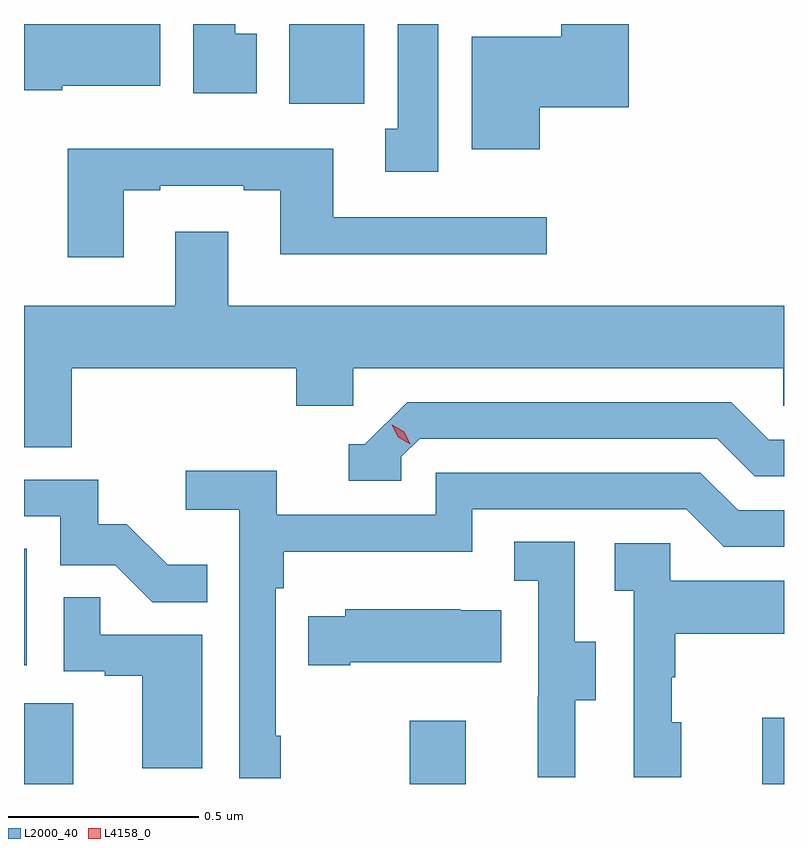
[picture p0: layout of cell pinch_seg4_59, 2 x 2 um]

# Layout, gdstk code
import gdstk
lib = gdstk.Library(unit=1e-6, precision=1e-09)
def R(c, l, rs):  # rectangles x0, y0, x1, y1
    for r in rs: c.add(gdstk.rectangle(r[:2], r[2:], *l))
def P(c, l, *ps):  # polygons
    for p in ps: c.add(gdstk.Polygon(p, *l))
L2000_40 = (2000, 40)
L4158_0 = (4158, 0)

pinch_seg4_59 = lib.new_cell('pinch_seg4_59')
R(pinch_seg4_59, L2000_40, [(1018.845,827.694,1018.975,827.906), (1019.86,827.694,1020.007,827.86), (1020.788,827.694,1020.845,827.869), (1018.845,828.006,1018.852,828.313), (1019.543,829.484,1019.74,829.694)])
P(pinch_seg4_59, L2000_40, [(1018.945,829.532),(1019.203,829.532),(1019.203,829.694),(1018.845,829.694),(1018.845,829.52),(1018.945,829.52)],
  [(1020.202,829.475),(1020.437,829.475),(1020.437,829.694),(1020.259,829.694),(1020.259,829.66),(1020.023,829.66),(1020.023,829.364),(1020.202,829.364)],
  [(1019.935,829.694),(1019.828,829.694),(1019.828,829.418),(1019.795,829.418),(1019.795,829.305),(1019.935,829.305)],
  [(1019.458,829.668),(1019.401,829.668),(1019.401,829.694),(1019.291,829.694),(1019.291,829.512),(1019.458,829.512)],
  [(1019.107,829.257),(1019.203,829.257),(1019.203,829.269),(1019.423,829.269),(1019.423,829.257),(1019.519,829.257),(1019.519,829.088),(1020.22,829.088),(1020.22,829.185),(1019.659,829.185),(1019.659,829.366),(1018.96,829.366),(1018.96,829.08),(1019.107,829.08)],
  [(1018.97,828.788),(1019.561,828.788),(1019.561,828.69),(1019.712,828.69),(1019.712,828.788),(1020.843,828.788),(1020.843,828.69),(1020.845,828.69),(1020.845,828.952),(1019.383,828.952),(1019.383,829.147),(1019.243,829.147),(1019.243,828.952),(1018.845,828.952),(1018.845,828.58),(1018.97,828.58)],
  [(1019.838,828.555),(1019.886,828.603),(1020.669,828.603),(1020.768,828.504),(1020.845,828.504),(1020.845,828.6),(1020.805,828.6),(1020.706,828.699),(1019.853,828.699),(1019.742,828.588),(1019.699,828.588),(1019.699,828.492),(1019.838,828.492)],
  [(1019.521,827.821),(1019.508,827.821),(1019.508,828.209),(1019.528,828.209),(1019.528,828.305),(1020.024,828.305),(1020.024,828.417),(1020.588,828.417),(1020.687,828.318),(1020.845,828.318),(1020.845,828.414),(1020.724,828.414),(1020.625,828.513),(1019.928,828.513),(1019.928,828.402),(1019.51,828.402),(1019.51,828.518),(1019.271,828.518),(1019.271,828.416),(1019.412,828.416),(1019.412,827.709),(1019.521,827.709)],
  [(1019.327,828.271),(1019.223,828.271),(1019.116,828.378),(1019.04,828.378),(1019.04,828.495),(1018.845,828.495),(1018.845,828.399),(1018.941,828.399),(1018.941,828.27),(1019.085,828.27),(1019.183,828.172),(1019.327,828.172)],
  [(1020.295,827.914),(1020.349,827.914),(1020.349,828.069),(1020.294,828.069),(1020.294,828.332),(1020.135,828.332),(1020.135,828.229),(1020.198,828.229),(1020.198,827.925),(1020.197,827.925),(1020.197,827.712),(1020.295,827.712)],
  [(1020.574,827.856),(1020.549,827.856),(1020.549,827.975),(1020.559,827.975),(1020.559,828.089),(1020.845,828.089),(1020.845,828.229),(1020.546,828.229),(1020.546,828.327),(1020.399,828.327),(1020.399,828.203),(1020.45,828.203),(1020.45,827.712),(1020.574,827.712)],
  [(1019.314,828.087),(1019.045,828.087),(1019.045,828.185),(1018.95,828.185),(1018.95,827.991),(1019.057,827.991),(1019.057,827.979),(1019.156,827.979),(1019.156,827.736),(1019.314,827.736)],
  [(1019.704,828.014),(1020.101,828.014),(1020.101,828.151),(1019.993,828.151),(1019.993,828.154),(1019.691,828.154),(1019.691,828.136),(1019.593,828.136),(1019.593,828.007),(1019.704,828.007)])
P(pinch_seg4_59, L4158_0, [(1019.861,828.588),(1019.83,828.607),(1019.813,828.64),(1019.813,828.64),(1019.814,828.64),(1019.845,828.621),(1019.861,828.588),(1019.861,828.588)])

lib.write_gds('pinch_seg4_59.gds')
